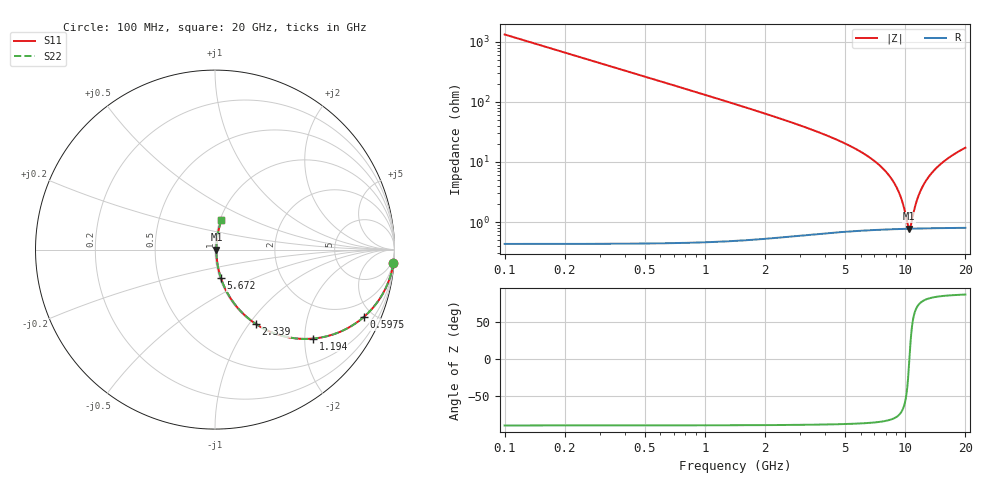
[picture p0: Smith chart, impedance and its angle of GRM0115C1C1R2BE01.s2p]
!Murata Part Number: GRM0115C1C1R2BE01
!These Parameters are Measured in Series Mode Connection
!Data Generated on Mar 30, 2021
!  o--ll--o
!Port1  Port2
!  o------o
!Operation Temp=25[degC], DC Bias Voltage=0[V]
!Freq. Start=100[MHz] Stop=20[GHz] 401[Steps]
# Hz S RI R 50
!Freq.(Hz) S11(Real) S11(Imag) S21(Real) S21(Imag) S12(Real) S12(Imag) S22(Real) S22(Imag)
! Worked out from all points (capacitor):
!   401 points, 100 MHz to 20 GHz, reference 50 ohm
!   read as one part in series: C = 1.2 pF near 199.5 MHz
!   lowest |Z| = 774 mohm at 10.5 GHz (marker M1)
!   series resonance near 10.5 GHz, so ESL is about 190 pH
!   S11 on the Smith chart (normalised r, x): 100 MHz: 1, -27; 597.5 MHz: 1.01, -4.42; 1.194 GHz: 1.01, -2.19; 2.339 GHz: 1.01, -1.07; 5.672 GHz: 1.01, -0.33; 20 GHz: 1.02, +0.35
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1e8  0.9943 -0.075  0.00568 0.075  0.00568 0.075  0.9943 -0.075
3.4875e8  0.9349 -0.2461  0.0651 0.2461  0.0651 0.2461  0.9349 -0.2461
5.975e8  0.8298 -0.3748  0.1702 0.3748  0.1702 0.3748  0.8298 -0.3748
1.1945e9  0.545 -0.4958  0.455 0.4958  0.455 0.4958  0.545 -0.4958
1.74175e9  0.3543 -0.4749  0.6457 0.4749  0.6457 0.4749  0.3543 -0.4749
2.33875e9  0.2265 -0.4135  0.7735 0.4135  0.7735 0.4135  0.2265 -0.4135
3.43325e9  0.1099 -0.3039  0.8901 0.3039  0.8901 0.3039  0.1099 -0.3039
5.672e9  0.0328 -0.158  0.9672 0.158  0.9672 0.158  0.0328 -0.158
6.7665e9  0.0198 -0.1108  0.9802 0.1108  0.9802 0.1108  0.0198 -0.1108
7.9605e9  0.0123 -0.069  0.9877 0.069  0.9877 0.069  0.0123 -0.069
8.856e9  0.00935 -0.0423  0.9907 0.0423  0.9907 0.0423  0.00935 -0.0423
9.50275e9  0.00822 -0.0248  0.9918 0.0248  0.9918 0.0248  0.00822 -0.0248
1.005e10  0.00777 -0.0109  0.9922 0.0109  0.9922 0.0109  0.00777 -0.0109
1.03485e10  0.00768 -0.00369  0.9923 0.00369  0.9923 0.00369  0.00768 -0.00369
1.049775e10  0.00768 -0.000157  0.9923 0.000157  0.9923 0.000157  0.00768 -0.000157
1.069675e10  0.00771 0.00447  0.9923 -0.00447  0.9923 -0.00447  0.00771 0.00447
1.129375e10  0.00804 0.0179  0.992 -0.0179  0.992 -0.0179  0.00804 0.0179
1.17415e10  0.00851 0.0275  0.9915 -0.0275  0.9915 -0.0275  0.00851 0.0275
1.2438e10  0.00954 0.0418  0.9905 -0.0418  0.9905 -0.0418  0.00954 0.0418
1.338325e10  0.0115 0.0601  0.9885 -0.0601  0.9885 -0.0601  0.0115 0.0601
1.67165e10  0.0219 0.117  0.9781 -0.117  0.9781 -0.117  0.0219 0.117
2e10  0.0362 0.165  0.9638 -0.165  0.9638 -0.165  0.0362 0.165
